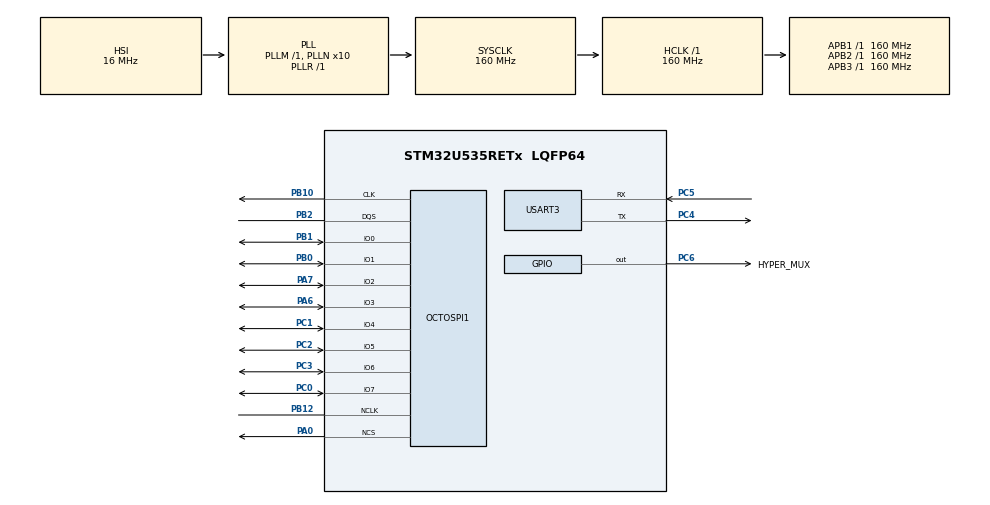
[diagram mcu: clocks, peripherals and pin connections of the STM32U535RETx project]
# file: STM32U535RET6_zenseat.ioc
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CORTEX_M33_NS.userName=CORTEX_M33
Mcu.Family=STM32U5
Mcu.Name=STM32U535RETx
Mcu.Package=LQFP64
NVIC.OCTOSPI1_IRQn=true\:0\:0\:false\:false\:true\:true\:true\:true
NVIC.PriorityGroup=NVIC_PRIORITYGROUP_4
OCTOSPI1.AccessTime=7
OCTOSPI1.ChipSelectBoundary=23
OCTOSPI1.ChipSelectHighTime=8
OCTOSPI1.ClockPrescaler=2
OCTOSPI1.DelayBlockBypass=HAL_OSPI_DELAY_BLOCK_USED
OCTOSPI1.DelayHoldQuarterCycle=HAL_OSPI_DHQC_ENABLE
OCTOSPI1.DeviceSize=26
OCTOSPI1.FifoThreshold=4
OCTOSPI1.LatencyMode=HAL_OSPI_FIXED_LATENCY
OCTOSPI1.MaxTran=0
OCTOSPI1.PhaseSel=4
OCTOSPI1.RWRecoveryTime=3
OCTOSPI1.Refresh=250
OCTOSPI1.WriteZeroLatency=HAL_OSPI_LATENCY_ON_WRITE
PA0.Mode=hyperbus_mode
PA0.Signal=OCTOSPI1_NCS
PA6.Mode=hyperbus_mode
PA6.Signal=OCTOSPI1_IO3
PA7.Mode=hyperbus_mode
PA7.Signal=OCTOSPI1_IO2
PB0.Mode=hyperbus_mode
PB0.Signal=OCTOSPI1_IO1
PB1.Mode=hyperbus_mode
PB1.Signal=OCTOSPI1_IO0
PB10.Mode=hyperbus_mode
PB10.Signal=OCTOSPI1_CLK
PB12.Mode=nclk_enable
PB12.Signal=OCTOSPI1_NCLK
PB2.Mode=hyperbus_mode
PB2.Signal=OCTOSPI1_DQS
PC0.Mode=hyperbus_mode
PC0.Signal=OCTOSPI1_IO7
PC1.Mode=hyperbus_mode
PC1.Signal=OCTOSPI1_IO4
PC2.Mode=hyperbus_mode
PC2.Signal=OCTOSPI1_IO5
PC3.Mode=hyperbus_mode
PC3.Signal=OCTOSPI1_IO6
PC4.Mode=Asynchronous
PC4.Signal=USART3_TX
PC5.Mode=Asynchronous
PC5.Signal=USART3_RX
PC6.GPIO_Label=HYPER_MUX
PC6.PinState=GPIO_PIN_RESET
PC6.Signal=GPIO_Output
ProjectManager.HeapSize=0x200
ProjectManager.StackSize=0x400
ProjectManager.TargetToolchain=STM32CubeIDE
RCC.ADCFreq_Value=16000000
RCC.AHBFreq_Value=160000000
RCC.APB1Freq_Value=160000000
RCC.APB1TimFreq_Value=160000000
RCC.APB2Freq_Value=160000000
RCC.APB2TimFreq_Value=160000000
RCC.APB3Freq_Value=160000000
RCC.CortexFreq_Value=160000000
RCC.DACCLockSelectionVirtual=RCC_DAC1CLKSOURCE_LSI
RCC.DACCLockSelectionVirtualString=RCC_DAC1CLKSOURCE_LSI
RCC.EPOD_VALUE=16000000
RCC.HCLKFreq_Value=160000000
RCC.HSE_VALUE=16000000
RCC.HSI48_VALUE=48000000
RCC.HSI_VALUE=16000000
RCC.LSE_VALUE=32768
RCC.LSIDIV_VALUE=32000
RCC.MSI_VALUE=4000000
RCC.PLL1R=1
RCC.PLLN=10
RCC.PLLSourceVirtual=RCC_PLLSOURCE_HSI
RCC.SYSCLKFreq_VALUE=160000000
RCC.SYSCLKSource=RCC_SYSCLKSOURCE_PLLCLK
RCC.USBFreq_Value=48000000
RCC.VCOOutputFreq_Value=160000000
USART3.VirtualMode-Asynchronous=VM_ASYNC
VP_ICACHE_VS_ICACHE.Mode=DirectMappedCache
VP_LPBAMQUEUE_VS_QUEUE.Mode=QUEUEMODE
VP_LPBAM_VS_SIG1.Mode=SmartRun
VP_LPBAM_VS_SIG4.Mode=LPDMA1
VP_MEMORYMAP_VS_MEMORYMAP.Mode=CurAppReg
VP_PWR_VS_SECSignals.Mode=Security/Privilege
board=custom

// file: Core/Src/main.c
/* USER CODE BEGIN Header */
/**
  ******************************************************************************
  * @file           : main.c
  * @brief          : Main program body
  ******************************************************************************
  * @attention
  *
  * Copyright (c) 2025 STMicroelectronics.
  * All rights reserved.
  *
  * This software is licensed under terms that can be found in the LICENSE file
  * in the root directory of this software component.
  * If no LICENSE file comes with this software, it is provided AS-IS.
  *
  ******************************************************************************
  */
/* USER CODE END Header */
#include "main.h"

/* USER CODE BEGIN Includes */
#include <stdio.h>
#include <inttypes.h>
#include <stdbool.h>

/* USER CODE END Includes */

OSPI_HandleTypeDef hospi1;

UART_HandleTypeDef huart3;

/* USER CODE BEGIN PV */
// Stuff for ST "exhaustive tuning":
/* Read Operations */
#define READ_CMD                                0x00
#define READ_LINEAR_BURST_CMD                   0x20
#define READ_HYBRID_BURST_CMD                   0x3F

/* Write Operations */
#define WRITE_CMD                               0x80
#define WRITE_LINEAR_BURST_CMD                  0xA0
#define WRITE_HYBRID_BURST_CMD                  0xBF

/* Reset Operations */
#define RESET_CMD                               0xFF

/* Register Operations */
#define READ_REG_CMD                            0x40
#define WRITE_REG_CMD                           0xC0

/* Default dummy clocks cycles */
#define DUMMY_CLOCK_CYCLES_READ                 5
#define DUMMY_CLOCK_CYCLES_WRITE                4

#define BUFFER_LENGTH          2048
uint8_t TX_Buffer[BUFFER_LENGTH];
uint8_t RX_Buffer[BUFFER_LENGTH];

/* USER CODE END PV */

void SystemClock_Config(void);
static void MX_GPIO_Init(void);
static void MX_USART3_UART_Init(void);
static void MX_OCTOSPI1_Init(void);
static void MX_ICACHE_Init(void);
/* USER CODE BEGIN PFP */
void RunHyperRAMTest(uint32_t num_iterations);
void OctoSPI_RegisterDump(OSPI_HandleTypeDef *hospi);

void ST_ExhaustiveTuningDLYB(void);

/* USER CODE END PFP */

/* USER CODE BEGIN 0 */
int __io_putchar(int ch)
{
  HAL_UART_Transmit(&huart3, (uint8_t *)&ch, 1, HAL_MAX_DELAY);
  return ch;
}

/* USER CODE END 0 */

int main(void)
{

  /* MCU Configuration--------------------------------------------------------*/

  /* Reset of all peripherals, Initializes the Flash interface and the Systick. */
  HAL_Init();

  /* Configure the system clock */
  SystemClock_Config();

  /* Initialize all configured peripherals */
  MX_GPIO_Init();
  MX_USART3_UART_Init();
  MX_OCTOSPI1_Init();
  MX_ICACHE_Init();
  /* USER CODE BEGIN 2 */

  // ST_ExhaustiveTuningDLYB();
  // printf("Done!\n");
  // while(true);

  OctoSPI_RegisterDump(&hospi1);
  RunHyperRAMTest(100000);

  /* USER CODE END 2 */

  /* Infinite loop */
  /* USER CODE BEGIN WHILE */
  while (1)
  {
    printf("Hello!\n");
    HAL_Delay(1000);

    /* USER CODE END WHILE */

  }
}

void SystemClock_Config(void)
{
  RCC_OscInitTypeDef RCC_OscInitStruct = {0};
  RCC_ClkInitTypeDef RCC_ClkInitStruct = {0};

  /** Configure the main internal regulator output voltage
  */
  if (HAL_PWREx_ControlVoltageScaling(PWR_REGULATOR_VOLTAGE_SCALE1) != HAL_OK)
  {
    Error_Handler();
  }

  /** Initializes the CPU, AHB and APB buses clocks
  */
  RCC_OscInitStruct.OscillatorType = RCC_OSCILLATORTYPE_HSI;
  RCC_OscInitStruct.HSIState = RCC_HSI_ON;
  RCC_OscInitStruct.HSICalibrationValue = RCC_HSICALIBRATION_DEFAULT;
  RCC_OscInitStruct.PLL.PLLState = RCC_PLL_ON;
  RCC_OscInitStruct.PLL.PLLSource = RCC_PLLSOURCE_HSI;
  RCC_OscInitStruct.PLL.PLLMBOOST = RCC_PLLMBOOST_DIV1;
  RCC_OscInitStruct.PLL.PLLM = 1;
  RCC_OscInitStruct.PLL.PLLN = 10;
  RCC_OscInitStruct.PLL.PLLP = 2;
  RCC_OscInitStruct.PLL.PLLQ = 2;
  RCC_OscInitStruct.PLL.PLLR = 1;
  RCC_OscInitStruct.PLL.PLLRGE = RCC_PLLVCIRANGE_1;
  RCC_OscInitStruct.PLL.PLLFRACN = 0;
  if (HAL_RCC_OscConfig(&RCC_OscInitStruct) != HAL_OK)
  {
    Error_Handler();
  }

  /** Initializes the CPU, AHB and APB buses clocks
  */
  RCC_ClkInitStruct.ClockType = RCC_CLOCKTYPE_HCLK|RCC_CLOCKTYPE_SYSCLK
                              |RCC_CLOCKTYPE_PCLK1|RCC_CLOCKTYPE_PCLK2
                              |RCC_CLOCKTYPE_PCLK3;
  RCC_ClkInitStruct.SYSCLKSource = RCC_SYSCLKSOURCE_PLLCLK;
  RCC_ClkInitStruct.AHBCLKDivider = RCC_SYSCLK_DIV1;
  RCC_ClkInitStruct.APB1CLKDivider = RCC_HCLK_DIV1;
  RCC_ClkInitStruct.APB2CLKDivider = RCC_HCLK_DIV1;
  RCC_ClkInitStruct.APB3CLKDivider = RCC_HCLK_DIV1;

  if (HAL_RCC_ClockConfig(&RCC_ClkInitStruct, FLASH_LATENCY_4) != HAL_OK)
  {
    Error_Handler();
  }
}

static void MX_ICACHE_Init(void)
{

  /** Enable instruction cache in 1-way (direct mapped cache)
  */
  if (HAL_ICACHE_ConfigAssociativityMode(ICACHE_1WAY) != HAL_OK)
  {
    Error_Handler();
  }
  if (HAL_ICACHE_Enable() != HAL_OK)
  {
    Error_Handler();
  }

}

static void MX_OCTOSPI1_Init(void)
{

  OSPI_HyperbusCfgTypeDef sHyperBusCfg = {0};
  HAL_OSPI_DLYB_CfgTypeDef HAL_OSPI_DLYB_Cfg_Struct = {0};

  /* OCTOSPI1 parameter configuration*/
  hospi1.Instance = OCTOSPI1;
  hospi1.Init.FifoThreshold = 4;
  hospi1.Init.DualQuad = HAL_OSPI_DUALQUAD_DISABLE;
  hospi1.Init.MemoryType = HAL_OSPI_MEMTYPE_HYPERBUS;
  hospi1.Init.DeviceSize = 26;
  hospi1.Init.ChipSelectHighTime = 8;
  hospi1.Init.FreeRunningClock = HAL_OSPI_FREERUNCLK_DISABLE;
  hospi1.Init.ClockMode = HAL_OSPI_CLOCK_MODE_0;
  hospi1.Init.WrapSize = HAL_OSPI_WRAP_NOT_SUPPORTED;
  hospi1.Init.ClockPrescaler = 2;
  hospi1.Init.SampleShifting = HAL_OSPI_SAMPLE_SHIFTING_NONE;
  hospi1.Init.DelayHoldQuarterCycle = HAL_OSPI_DHQC_ENABLE;
  hospi1.Init.ChipSelectBoundary = 23;
  hospi1.Init.DelayBlockBypass = HAL_OSPI_DELAY_BLOCK_USED;
  hospi1.Init.MaxTran = 0;
  hospi1.Init.Refresh = 250;
  if (HAL_OSPI_Init(&hospi1) != HAL_OK)
  {
    Error_Handler();
  }
  sHyperBusCfg.RWRecoveryTime = 3;
  sHyperBusCfg.AccessTime = 7;
  sHyperBusCfg.WriteZeroLatency = HAL_OSPI_LATENCY_ON_WRITE;
  sHyperBusCfg.LatencyMode = HAL_OSPI_FIXED_LATENCY;
  if (HAL_OSPI_HyperbusCfg(&hospi1, &sHyperBusCfg, HAL_OSPI_TIMEOUT_DEFAULT_VALUE) != HAL_OK)
  {
    Error_Handler();
  }
  HAL_OSPI_DLYB_Cfg_Struct.Units = 0;
  HAL_OSPI_DLYB_Cfg_Struct.PhaseSel = 4;
  if (HAL_OSPI_DLYB_SetConfig(&hospi1, &HAL_OSPI_DLYB_Cfg_Struct) != HAL_OK)
  {
    Error_Handler();
  }
  /* USER CODE BEGIN OCTOSPI1_Init 2 */

// ****************************
// Delay block tuning using HAL: (override CUBE MX settings)
// ****************************
// Settings:
#define TUNE_DELAY_BLOCK             // define to use tuning and print values
// #define RESTORE_CUBE_MX_SETTINGS     // define to restore original CUBE MX settings (print values only) when TUNE_DELAY_BLOCK is defined

#ifdef TUNE_DELAY_BLOCK
  HAL_OSPI_DLYB_CfgTypeDef dlyb_cfg, dlyb_cfg_mx_settings;

  // save CUBE MX settings (done this way since we can't modify above CUBE MX generated code)
  dlyb_cfg_mx_settings.Units = HAL_OSPI_DLYB_Cfg_Struct.Units;
  dlyb_cfg_mx_settings.PhaseSel = HAL_OSPI_DLYB_Cfg_Struct.PhaseSel;

  HAL_OSPI_DLYB_GetConfig(&hospi1,&dlyb_cfg);
  printf("\n\nDelay block tuning:\n");

  while(1)
  {
    // bug in HAL code might cause the call to fail or return data == 0 so attempt repeatedly
    if(HAL_OSPI_DLYB_GetClockPeriod(&hospi1,&dlyb_cfg) != HAL_OK || dlyb_cfg.Units == 0 || dlyb_cfg.PhaseSel == 0)
    {
      printf("HAL_OSPI_DLYB_GetClockPeriod() failed - retrying...\n");
      HAL_Delay(100);
    }
    else
      break;
  }

  printf("Units: %08" PRIX32 " PhaseSel %08" PRIX32 " after call to HAL_OSPI_DLYB_GetClockPeriod() \n", dlyb_cfg.Units, dlyb_cfg.PhaseSel);

  /*when DTR, PhaseSel is divided by 4 (emperic value)*/
  dlyb_cfg.PhaseSel /=4;

  #ifdef RESTORE_CUBE_MX_SETTINGS
    // don't use tuning result - restore original settings
    // HAL_OSPI_DLYB_Cfg_Struct.Units = 0;
    // HAL_OSPI_DLYB_Cfg_Struct.PhaseSel = 4;
    HAL_OSPI_DLYB_Cfg_Struct.Units = dlyb_cfg_mx_settings.Units;
    HAL_OSPI_DLYB_Cfg_Struct.PhaseSel = dlyb_cfg_mx_settings.PhaseSel;
  #else
    // use tuning result
    HAL_OSPI_DLYB_Cfg_Struct.Units = dlyb_cfg.Units;
    HAL_OSPI_DLYB_Cfg_Struct.PhaseSel = dlyb_cfg.PhaseSel;
  #endif

  printf("Units: %08" PRIX32 " PhaseSel %08" PRIX32 " (values used)\n", HAL_OSPI_DLYB_Cfg_Struct.Units, HAL_OSPI_DLYB_Cfg_Struct.PhaseSel);

  if (HAL_OSPI_DLYB_SetConfig(&hospi1, &HAL_OSPI_DLYB_Cfg_Struct) != HAL_OK)
  {
    Error_Handler();
  }

#endif // TUNE_DELAY_BLOCK

  /* USER CODE END OCTOSPI1_Init 2 */

}

static void MX_USART3_UART_Init(void)
{

  huart3.Instance = USART3;
  huart3.Init.BaudRate = 115200;
  huart3.Init.WordLength = UART_WORDLENGTH_8B;
  huart3.Init.StopBits = UART_STOPBITS_1;
  huart3.Init.Parity = UART_PARITY_NONE;
  huart3.Init.Mode = UART_MODE_TX_RX;
  huart3.Init.HwFlowCtl = UART_HWCONTROL_NONE;
  huart3.Init.OverSampling = UART_OVERSAMPLING_16;
  huart3.Init.OneBitSampling = UART_ONE_BIT_SAMPLE_DISABLE;
  huart3.Init.ClockPrescaler = UART_PRESCALER_DIV1;
  huart3.AdvancedInit.AdvFeatureInit = UART_ADVFEATURE_NO_INIT;
  if (HAL_UART_Init(&huart3) != HAL_OK)
  {
    Error_Handler();
  }
  if (HAL_UARTEx_SetTxFifoThreshold(&huart3, UART_TXFIFO_THRESHOLD_1_8) != HAL_OK)
  {
    Error_Handler();
  }
  if (HAL_UARTEx_SetRxFifoThreshold(&huart3, UART_RXFIFO_THRESHOLD_1_8) != HAL_OK)
  {
    Error_Handler();
  }
  if (HAL_UARTEx_DisableFifoMode(&huart3) != HAL_OK)
  {
    Error_Handler();
  }

}

static void MX_GPIO_Init(void)
{
  GPIO_InitTypeDef GPIO_InitStruct = {0};

  /* GPIO Ports Clock Enable */
  __HAL_RCC_GPIOC_CLK_ENABLE();
  __HAL_RCC_GPIOA_CLK_ENABLE();
  __HAL_RCC_GPIOB_CLK_ENABLE();

  /*Configure GPIO pin Output Level */
  HAL_GPIO_WritePin(HYPER_MUX_GPIO_Port, HYPER_MUX_Pin, GPIO_PIN_RESET);

  /*Configure GPIO pin : HYPER_MUX_Pin */
  GPIO_InitStruct.Pin = HYPER_MUX_Pin;
  GPIO_InitStruct.Mode = GPIO_MODE_OUTPUT_PP;
  GPIO_InitStruct.Pull = GPIO_NOPULL;
  GPIO_InitStruct.Speed = GPIO_SPEED_FREQ_LOW;
  HAL_GPIO_Init(HYPER_MUX_GPIO_Port, &GPIO_InitStruct);

}

/* USER CODE BEGIN 4 */
void OctoSPI_RegisterDump(OSPI_HandleTypeDef *hospi)
{
  printf("\nOCTOSPI registers hex dump:\n");
  printf("----------------------------\n");
  printf("CR   : %08" PRIX32 "\n", hospi->Instance->CR);
  printf("DCR1 : %08" PRIX32 "\n", hospi->Instance->DCR1);
  printf("DCR2 : %08" PRIX32 "\n", hospi->Instance->DCR2);
  printf("DCR3 : %08" PRIX32 "\n", hospi->Instance->DCR3);
  printf("DCR4 : %08" PRIX32 "\n", hospi->Instance->DCR4);
  printf("SR   : %08" PRIX32 "\n", hospi->Instance->SR);
  printf("FCR  : %08" PRIX32 "\n", hospi->Instance->FCR);
  printf("DLR  : %08" PRIX32 "\n", hospi->Instance->DLR);
  printf("AR   : %08" PRIX32 "\n", hospi->Instance->AR);
  printf("DR   : %08" PRIX32 "\n", hospi->Instance->DR);
  printf("PSMKR: %08" PRIX32 "\n", hospi->Instance->PSMKR);
  printf("PSMAR: %08" PRIX32 "\n", hospi->Instance->PSMAR);
  printf("PIR  : %08" PRIX32 "\n", hospi->Instance->PIR);
  printf("CCR  : %08" PRIX32 "\n", hospi->Instance->CCR);
  printf("TCR  : %08" PRIX32 "\n", hospi->Instance->TCR);
  printf("IR   : %08" PRIX32 "\n", hospi->Instance->IR);
  printf("ABR  : %08" PRIX32 "\n", hospi->Instance->ABR);
  printf("LPTR : %08" PRIX32 "\n", hospi->Instance->LPTR);
  printf("WPCCR: %08" PRIX32 "\n", hospi->Instance->WPCCR);
  printf("WPTCR: %08" PRIX32 "\n", hospi->Instance->WPTCR);
  printf("WPIR : %08" PRIX32 "\n", hospi->Instance->WPIR);
  printf("WPABR: %08" PRIX32 "\n", hospi->Instance->WPABR);
  printf("WCCR : %08" PRIX32 "\n", hospi->Instance->WCCR);
  printf("WTCR : %08" PRIX32 "\n", hospi->Instance->WTCR);
  printf("WIR  : %08" PRIX32 "\n", hospi->Instance->WIR);
  printf("WABR : %08" PRIX32 "\n", hospi->Instance->WABR);
  printf("HLCR : %08" PRIX32 "\n", hospi->Instance->HLCR);
  printf("DONE!\n");
}

// Define to use SRAM instead of HyperRAM:
// #define USE_LOCAL_SRAM
//
// Define only one:
// #define TEST_8_BIT
#define TEST_16_BIT
// #define TEST_32_BIT

uint8_t sram_memory_test_block[8192] = {0};
void RunHyperRAMTest(uint32_t num_iterations)
{
  printf("HyperRAM test...\n");

  OSPI_HyperbusCmdTypeDef sCommand = {0};
  OSPI_MemoryMappedTypeDef sMemMappedCfg = {0};

  sCommand.AddressSpace = HAL_OSPI_MEMORY_ADDRESS_SPACE;
  sCommand.AddressSize  = HAL_OSPI_ADDRESS_32_BITS;
  sCommand.DQSMode      = HAL_OSPI_DQS_ENABLE;
  sCommand.Address      = 0;
  sCommand.NbData       = 1;
  if (HAL_OSPI_HyperbusCmd(&hospi1, &sCommand, HAL_OSPI_TIMEOUT_DEFAULT_VALUE) != HAL_OK)
  {
      Error_Handler();
  }

  // disable timeout (which will keep nCS low)
  sMemMappedCfg.TimeOutActivation = HAL_OSPI_TIMEOUT_COUNTER_DISABLE;
  sMemMappedCfg.TimeOutPeriod     = 0x00;
  // sMemMappedCfg.TimeOutActivation = HAL_OSPI_TIMEOUT_COUNTER_ENABLE;
  // sMemMappedCfg.TimeOutPeriod     = 0x08; // experimented with 6 clocks as specified in errata but system crashed
  if (HAL_OSPI_MemoryMapped(&hospi1, &sMemMappedCfg) != HAL_OK)
  {
      Error_Handler();
  }

  HAL_Delay(10);  // just to be sure..

  // printf("Register dump post memory mapping\n");
  // OctoSPI_RegisterDump(&hospi1);                   // uncomment to dump regs

  // "manufacture" a 32-bit value memory address that can be cast to point to anything:
  #ifdef USE_LOCAL_SRAM
    uint8_t *mem_ptr = &sram_memory_test_block[0];
    uint32_t mem_addr = (uint32_t)mem_ptr;
    printf("Using SRAM - mem_addr: %08" PRIX32 "\n", mem_addr);
  #else
    printf("Using HyperRAM - mem_addr: %08" PRIX32 "\n", OCTOSPI1_BASE);
  #endif

  // while(true)
  for(uint32_t iter=0; iter < num_iterations; iter++)
  {
#ifdef TEST_8_BIT
    // TEST 2
    // 1) write 4 bytes
    // 2) read 4 bytes
    // 3) dump read and write arrays
    // uint8_t w_array[] = {0x01, 0x23, 0x45, 0x67};
    uint8_t w_array[] = {0xFE, 0xDC, 0xBA, 0x98};
    uint8_t r_array[4];
    uint8_t index = 0;
    uint8_t address_offset = 0;

    for(address_offset = 0x5A, index = 0; index < 4; address_offset++, index++)
    {
      #ifdef USE_LOCAL_SRAM
      *((uint8_t*)(mem_addr + address_offset)) = w_array[index];       // write data to hyperram at increasing address
      #else
      *((uint8_t*)(OCTOSPI1_BASE + address_offset)) = w_array[index];       // write data to hyperram at increasing address
      #endif
    }

    for(address_offset = 0x5A, index = 0; index < 4; address_offset++, index++)
    {
      r_array[index] = 0x00;
      #ifdef USE_LOCAL_SRAM
      r_array[index] = *((uint8_t*)(mem_addr + address_offset));         // read data from hyperram into val
      #else
      r_array[index] = *((uint8_t*)(OCTOSPI1_BASE + address_offset));         // read data from hyperram into val
      #endif
    }

    printf("W: ");
    for(index = 0; index < 4; index++)
    {
      printf("%02X ", w_array[index]);
    }
    printf("\n");

    printf("R: ");
    for(index = 0; index < 4; index++)
    {
      printf("%02X ", r_array[index]);
    }
    printf("\n\n");

    HAL_Delay(100);   // slow down prints..
#endif

#ifdef TEST_32_BIT
    // TEST 3
    // 1) write 4 32-bit words
    // 2) read 4 32-bit words
    // 3) dump read and write arrays
    // uint32_t w_array[] = {0xAAAAAAAA, 0xBBBBBBBB, 0xCCCCCCCC, 0xDDDDDDDD};
    uint32_t w_array[] = {0x01234567, 0x89ABCDEF, 0x01234567, 0x89ABCDEF};
    uint32_t r_array[4];
    uint32_t index = 0;
    uint32_t address_offset = 0;

    for(address_offset = 0x5A, index = 0; index < 4; address_offset+=4, index++)
    {
      #ifdef USE_LOCAL_SRAM
      *((uint32_t*)(mem_addr + address_offset)) = w_array[index];       // write data to hyperram at increasing address
      #else
      *((uint32_t*)(OCTOSPI1_BASE + address_offset)) = w_array[index];       // write data to hyperram at increasing address
      #endif
    }

    for(address_offset = 0x5A, index = 0; index < 4; address_offset+=4, index++)
    {
      r_array[index] = 0x00;
      #ifdef USE_LOCAL_SRAM
      r_array[index] = *((uint32_t*)(mem_addr + address_offset));         // read data from hyperram into val
      #else
      r_array[index] = *((uint32_t*)(OCTOSPI1_BASE + address_offset));         // read data from hyperram into val
      #endif
    }

    printf("W: ");
    for(index = 0; index < 4; index++)
    {
      printf("%08" PRIX32 " ", w_array[index]);
    }
    printf("\n");

    printf("R: ");
    for(index = 0; index < 4; index++)
    {
      printf("%08" PRIX32 " ", r_array[index]);
    }
    printf("\n\n");

    HAL_Delay(100);   // slow down prints..
#endif

#ifdef TEST_16_BIT
    // TEST 4
    // 1) write 4 16-bit words
    // 2) read 4 16-bit words
    // 3) dump read and write arrays

// #define TEST_SINGLE_ACCESS_FOR_LA // (easier to see one access on logic analyzer)

#ifdef TEST_SINGLE_ACCESS_FOR_LA
  uint32_t num_array_elements = 1;
#else
  uint32_t num_array_elements = 4;
#endif
    uint16_t w_array[] = {0x0123, 0x4567, 0x89AB, 0xCDEF};
    // uint16_t w_array[] = {0xFEDC, 0xBA98, 0x7654, 0x3210};
    uint16_t r_array[4];
    uint16_t index = 0;
    uint16_t address_offset = 0;

    for(address_offset = 0x5A, index = 0; index < num_array_elements; address_offset+=2, index++)
    {
      #ifdef USE_LOCAL_SRAM
      *((uint16_t*)(mem_addr + address_offset)) = w_array[index];       // write data to sram at increasing address
      #else
      *((uint16_t*)(OCTOSPI1_BASE + address_offset)) = w_array[index];       // write data to hyperram at increasing address
      #endif
    }

    for(address_offset = 0x5A, index = 0; index < num_array_elements; address_offset+=2, index++)
    {
      r_array[index] = 0x00;
      #ifdef USE_LOCAL_SRAM
      r_array[index] = *((uint16_t*)(mem_addr + address_offset));         // read data from sram into r_array
      #else
      r_array[index] = *((uint16_t*)(OCTOSPI1_BASE + address_offset));         // read data from hyperram into r_array
      #endif
    }

    printf("W: ");
    for(index = 0; index < num_array_elements; index++)
    {
      printf("%04X ", w_array[index]);
    }
    printf("\n");

    printf("R: ");
    for(index = 0; index < num_array_elements; index++)
    {
      printf("%04X ", r_array[index]);
    }
    printf("\n\n");

    HAL_Delay(100);   // slow down prints..
#endif

  }

}

// ST "exhaustive tuning" procedure instead of reference guide / HAL
void ST_ExhaustiveTuningDLYB(void)
{
  printf("\n\nDelay block tuning exhaustive:\n");
__IO uint8_t CmdCplt;
  LL_DLYB_CfgTypeDef dlyb_cfg,dlyb_cfg_test;
  __IO   uint32_t ok=0,ko=0,k;
  uint32_t sel;
  uint32_t unit;
  uint32_t jj;
  uint32_t ii;
  uint16_t index;
  HAL_OSPI_DLYB_CfgTypeDef HAL_OSPI_DLYB_Cfg_Struct = {0};

  // experiment to see if I can re-init in Memory Mapped mode:

  printf(" ###################### Start Tuning ######################### \n");

  #if 1 // total re-write gleaned from ST code below...
  OSPI_RegularCmdTypeDef sCommand = {0};

  for(sel=1; sel <= DLYB_MAX_SELECT; sel++)       // all values of sel 1-12
  {
    for(unit=0; unit <= DLYB_MAX_UNIT; unit++)    // all values of unit for each value of sel
    {
      printf("unit: %lu sel: %lu\n", unit, sel);

    }
  }

  // re-program delay block

  // (known bad values:)
  // HAL_OSPI_DLYB_Cfg_Struct.Units = 64;
  // HAL_OSPI_DLYB_Cfg_Struct.PhaseSel = 11;

  HAL_OSPI_DLYB_Cfg_Struct.Units = 0;
  HAL_OSPI_DLYB_Cfg_Struct.PhaseSel = 4;
  if (HAL_OSPI_DLYB_SetConfig(&hospi1, &HAL_OSPI_DLYB_Cfg_Struct) != HAL_OK)
  {
    Error_Handler();
  }

  RunHyperRAMTest(1);

  HAL_OSPI_DeInit(&hospi1);
  MX_OCTOSPI1_Init();
  HAL_OSPI_DLYB_Cfg_Struct.Units = 64;
  HAL_OSPI_DLYB_Cfg_Struct.PhaseSel = 11;
  if (HAL_OSPI_DLYB_SetConfig(&hospi1, &HAL_OSPI_DLYB_Cfg_Struct) != HAL_OK)
  {
    Error_Handler();
  }
  RunHyperRAMTest(1);

  HAL_OSPI_DeInit(&hospi1);
  MX_OCTOSPI1_Init();
  HAL_OSPI_DLYB_Cfg_Struct.Units = 0;
  HAL_OSPI_DLYB_Cfg_Struct.PhaseSel = 4;
  if (HAL_OSPI_DLYB_SetConfig(&hospi1, &HAL_OSPI_DLYB_Cfg_Struct) != HAL_OK)
  {
    Error_Handler();
  }
  RunHyperRAMTest(1);

  #else // (original ST code with strange values for Units and PhaseSel)
  for( jj=0; jj<(DLYB_MAX_SELECT*DLYB_MAX_UNIT); jj++ )                           // SIGMA: jj = 0 to 1536 all possible values of Units and PhaseSel
  {
    ko=0;/*it will mentions if test is ok or not*/

    /* Search the combination SEL / UNIT to obtain the total delay jj*/
    for( sel=1; sel<(DLYB_MAX_SELECT+1); sel++ )                                  // SIGMA: sel = PhaseSel 1 to 12, try all values
    {
      if( ((jj%sel)==0) && ((jj/sel)<DLYB_MAX_UNIT) )
      {
        unit = jj/sel;
        break;
      }
    }

    printf("jj: %lu unit: %lu sel: %lu ", jj, unit, sel);

    if( sel==(DLYB_MAX_SELECT+1) )
    {
      printf("value not reachable\n");
      continue;  /* value not reachable */
    }
    else
      printf("\n");

    /* Delay Block Configuration */
    dlyb_cfg.PhaseSel =sel;
    dlyb_cfg.Units =unit;

    /* DeInit OCTOSPI ------------------------------------------------ */
    HAL_OSPI_DeInit(&hospi1);

    /* Re-init octospi to clear communication configuration */
    MX_OCTOSPI1_Init();

    /*Set Delay Block configuration*/
    HAL_OSPI_DLYB_SetConfig(&hospi1,&dlyb_cfg);

    /* Reading Sequence (repeating 100 time read operation) ------------------ */
    for(k=0;k<100;k++)                                                              // SIGMA: test read 100x
    {
      for( ii=BUFFER_LENGTH; ii>0; ii-- )
      {RX_Buffer[ii-1] =0;}

      sCommand.Instruction = READ_CMD;
      sCommand.DummyCycles = DUMMY_CLOCK_CYCLES_READ;
      sCommand.DQSMode     = HAL_OSPI_DQS_ENABLE;

      if (HAL_OSPI_Command(&hospi1, &sCommand, HAL_OSPI_TIMEOUT_DEFAULT_VALUE) != HAL_OK)
      {
        Error_Handler();
      }

      if (HAL_OSPI_Receive(&hospi1, RX_Buffer, HAL_OSPI_TIMEOUT_DEFAULT_VALUE) != HAL_OK)
      {
        ko ++;
        break;
      }

      /* 3- Result comparison ----------------------------------------------- */
      for (index = 0; index < BUFFER_LENGTH; index++)
      {
        if (RX_Buffer[index] != TX_Buffer[index])
        {
          ko ++;
          break;
        }
      }
    }

    /* Toggle Green led, Tuning is processing-------------------------------- */
    BSP_LED_Toggle(LED7);
    HAL_Delay (10);

    /* Print Result --------------------------------------------------------- */
    if (ko>0)
    {
      printf (" delay= %u, Sel = %u , Unit = %u , Test FAILED \n",jj, sel, unit);
    }
    else
    {
      printf (" delay= %u, Sel = %u , Unit = %u , Test PASSED \n",jj, sel, unit);
    }
  }

  #endif

  /* End Tuning------------------------------------------------ */
  printf (" ###################### End Tuning #########################\n");

}

/* USER CODE END 4 */

void Error_Handler(void)
{
  __disable_irq();
  while (1)
  {
  }
}
